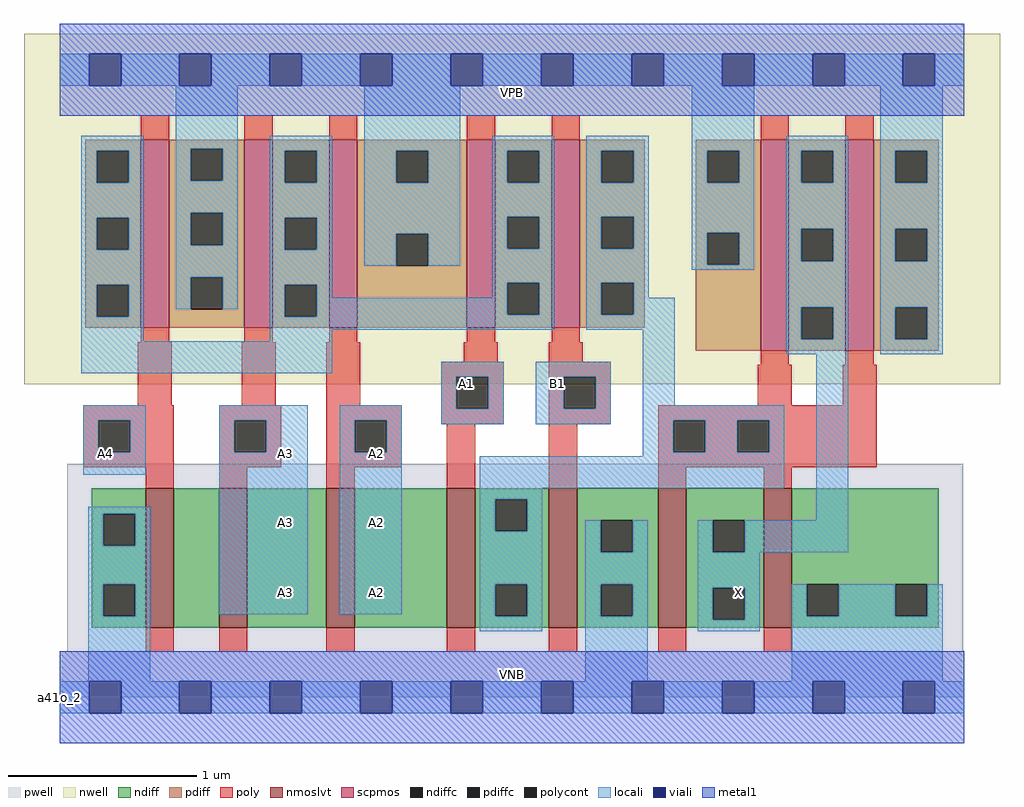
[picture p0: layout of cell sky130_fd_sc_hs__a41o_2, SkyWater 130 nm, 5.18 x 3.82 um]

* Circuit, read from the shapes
.subckt sky130_fd_sc_hs__a41o_2 A1 A2 A3 A4 B1 VGND VNB VPB VPWR X
XM1 n1 A4 VGND VNB sky130_fd_pr__nfet_01v8_lvt w=0.74 l=0.15
XM2 n2 A3 n1 VNB sky130_fd_pr__nfet_01v8_lvt w=0.74 l=0.15
XM3 n3 A2 n2 VNB sky130_fd_pr__nfet_01v8_lvt w=0.74 l=0.15
XM4 n4 A1 n3 VNB sky130_fd_pr__nfet_01v8_lvt w=0.74 l=0.15
XM5 VGND B1 n4 VNB sky130_fd_pr__nfet_01v8_lvt w=0.74 l=0.15
XM6 X n4 VGND VNB sky130_fd_pr__nfet_01v8_lvt w=0.74 l=0.15 m=2
XM7 VPWR A4 n5 VPB sky130_fd_pr__pfet_01v8 w=1 l=0.15
XM8 n5 A3 VPWR VPB sky130_fd_pr__pfet_01v8 w=1 l=0.15
XM9 VPWR A2 n5 VPB sky130_fd_pr__pfet_01v8 w=1 l=0.15
XM10 n5 A1 VPWR VPB sky130_fd_pr__pfet_01v8 w=1 l=0.15
XM11 n4 B1 n5 VPB sky130_fd_pr__pfet_01v8 w=1 l=0.15
XM12 X n4 VPWR VPB sky130_fd_pr__pfet_01v8 w=1.12 l=0.15 m=2
.ends

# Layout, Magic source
magic
tech sky130A
magscale 1 2
<< nwell >>
rect -38 332 998 704
<< pwell >>
rect 8 49 959 248
rect 0 0 960 49
<< scpmos >>
rect 86 392 116 592
rect 196 392 226 592
rect 286 392 316 592
rect 432 392 462 592
rect 522 392 552 592
rect 744 368 774 592
rect 834 368 864 592
<< nmoslvt >>
rect 91 74 121 222
rect 169 74 199 222
rect 283 74 313 222
rect 411 74 441 222
rect 519 74 549 222
rect 635 74 665 222
rect 747 74 777 222
<< ndiff >>
rect 34 195 91 222
rect 34 161 46 195
rect 80 161 91 195
rect 34 120 91 161
rect 34 86 46 120
rect 80 86 91 120
rect 34 74 91 86
rect 121 74 169 222
rect 199 74 283 222
rect 313 74 411 222
rect 441 210 519 222
rect 441 176 462 210
rect 496 176 519 210
rect 441 120 519 176
rect 441 86 462 120
rect 496 86 519 120
rect 441 74 519 86
rect 549 188 635 222
rect 549 154 574 188
rect 608 154 635 188
rect 549 120 635 154
rect 549 86 574 120
rect 608 86 635 120
rect 549 74 635 86
rect 665 188 747 222
rect 665 154 693 188
rect 727 154 747 188
rect 665 116 747 154
rect 665 82 693 116
rect 727 82 747 116
rect 665 74 747 82
rect 777 120 933 222
rect 777 86 793 120
rect 827 86 887 120
rect 921 86 933 120
rect 777 74 933 86
<< pdiff >>
rect 27 580 86 592
rect 27 546 39 580
rect 73 546 86 580
rect 27 509 86 546
rect 27 475 39 509
rect 73 475 86 509
rect 27 438 86 475
rect 27 404 39 438
rect 73 404 86 438
rect 27 392 86 404
rect 116 582 196 592
rect 116 548 139 582
rect 173 548 196 582
rect 116 514 196 548
rect 116 480 139 514
rect 173 480 196 514
rect 116 446 196 480
rect 116 412 139 446
rect 173 412 196 446
rect 116 392 196 412
rect 226 580 286 592
rect 226 546 239 580
rect 273 546 286 580
rect 226 509 286 546
rect 226 475 239 509
rect 273 475 286 509
rect 226 438 286 475
rect 226 404 239 438
rect 273 404 286 438
rect 226 392 286 404
rect 316 580 432 592
rect 316 546 357 580
rect 391 546 432 580
rect 316 492 432 546
rect 316 458 357 492
rect 391 458 432 492
rect 316 392 432 458
rect 462 580 522 592
rect 462 546 475 580
rect 509 546 522 580
rect 462 510 522 546
rect 462 476 475 510
rect 509 476 522 510
rect 462 440 522 476
rect 462 406 475 440
rect 509 406 522 440
rect 462 392 522 406
rect 552 580 621 592
rect 552 546 575 580
rect 609 546 621 580
rect 552 510 621 546
rect 552 476 575 510
rect 609 476 621 510
rect 552 440 621 476
rect 552 406 575 440
rect 609 406 621 440
rect 552 392 621 406
rect 675 580 744 592
rect 675 546 687 580
rect 721 546 744 580
rect 675 493 744 546
rect 675 459 687 493
rect 721 459 744 493
rect 675 368 744 459
rect 774 580 834 592
rect 774 546 787 580
rect 821 546 834 580
rect 774 497 834 546
rect 774 463 787 497
rect 821 463 834 497
rect 774 414 834 463
rect 774 380 787 414
rect 821 380 834 414
rect 774 368 834 380
rect 864 580 933 592
rect 864 546 887 580
rect 921 546 933 580
rect 864 497 933 546
rect 864 463 887 497
rect 921 463 933 497
rect 864 414 933 463
rect 864 380 887 414
rect 921 380 933 414
rect 864 368 933 380
<< ndiffc >>
rect 46 161 80 195
rect 46 86 80 120
rect 462 176 496 210
rect 462 86 496 120
rect 574 154 608 188
rect 574 86 608 120
rect 693 154 727 188
rect 693 82 727 116
rect 793 86 827 120
rect 887 86 921 120
<< pdiffc >>
rect 39 546 73 580
rect 39 475 73 509
rect 39 404 73 438
rect 139 548 173 582
rect 139 480 173 514
rect 139 412 173 446
rect 239 546 273 580
rect 239 475 273 509
rect 239 404 273 438
rect 357 546 391 580
rect 357 458 391 492
rect 475 546 509 580
rect 475 476 509 510
rect 475 406 509 440
rect 575 546 609 580
rect 575 476 609 510
rect 575 406 609 440
rect 687 546 721 580
rect 687 459 721 493
rect 787 546 821 580
rect 787 463 821 497
rect 787 380 821 414
rect 887 546 921 580
rect 887 463 921 497
rect 887 380 921 414
<< poly >>
rect 86 592 116 618
rect 196 592 226 618
rect 286 592 316 618
rect 432 592 462 618
rect 522 592 552 618
rect 744 592 774 618
rect 834 592 864 618
rect 86 377 116 392
rect 196 377 226 392
rect 286 377 316 392
rect 432 377 462 392
rect 522 377 552 392
rect 83 310 119 377
rect 193 310 229 377
rect 283 310 319 377
rect 429 356 465 377
rect 519 356 555 377
rect 405 340 471 356
rect 25 294 121 310
rect 25 260 41 294
rect 75 260 121 294
rect 25 244 121 260
rect 91 222 121 244
rect 169 294 235 310
rect 169 260 185 294
rect 219 260 235 294
rect 169 244 235 260
rect 283 294 363 310
rect 283 260 313 294
rect 347 260 363 294
rect 405 306 421 340
rect 455 306 471 340
rect 405 290 471 306
rect 519 340 585 356
rect 744 353 774 368
rect 834 353 864 368
rect 519 306 535 340
rect 569 306 585 340
rect 741 310 777 353
rect 831 310 867 353
rect 519 290 585 306
rect 635 294 867 310
rect 283 244 363 260
rect 169 222 199 244
rect 283 222 313 244
rect 411 222 441 290
rect 519 222 549 290
rect 635 260 651 294
rect 685 260 719 294
rect 753 260 867 294
rect 635 244 867 260
rect 635 222 665 244
rect 747 222 777 244
rect 91 48 121 74
rect 169 48 199 74
rect 283 48 313 74
rect 411 48 441 74
rect 519 48 549 74
rect 635 48 665 74
rect 747 48 777 74
<< polycont >>
rect 41 260 75 294
rect 185 260 219 294
rect 313 260 347 294
rect 421 306 455 340
rect 535 306 569 340
rect 651 260 685 294
rect 719 260 753 294
<< locali >>
rect 0 649 31 683
rect 65 649 127 683
rect 161 649 223 683
rect 257 649 319 683
rect 353 649 415 683
rect 449 649 511 683
rect 545 649 607 683
rect 641 649 703 683
rect 737 649 799 683
rect 833 649 895 683
rect 929 649 960 683
rect 23 580 89 596
rect 23 546 39 580
rect 73 546 89 580
rect 23 509 89 546
rect 23 475 39 509
rect 73 475 89 509
rect 23 438 89 475
rect 23 404 39 438
rect 73 404 89 438
rect 123 582 189 649
rect 123 548 139 582
rect 173 548 189 582
rect 123 514 189 548
rect 123 480 139 514
rect 173 480 189 514
rect 123 446 189 480
rect 123 412 139 446
rect 173 412 189 446
rect 223 580 289 596
rect 223 546 239 580
rect 273 546 289 580
rect 223 509 289 546
rect 223 475 239 509
rect 273 475 289 509
rect 223 438 289 475
rect 323 580 425 649
rect 323 546 357 580
rect 391 546 425 580
rect 323 492 425 546
rect 323 458 357 492
rect 391 458 425 492
rect 459 580 525 596
rect 459 546 475 580
rect 509 546 525 580
rect 459 510 525 546
rect 459 476 475 510
rect 509 476 525 510
rect 23 378 89 404
rect 223 404 239 438
rect 273 424 289 438
rect 459 440 525 476
rect 459 424 475 440
rect 273 406 475 424
rect 509 406 525 440
rect 273 404 525 406
rect 223 390 525 404
rect 559 580 625 596
rect 559 546 575 580
rect 609 546 625 580
rect 559 510 625 546
rect 559 476 575 510
rect 609 476 625 510
rect 559 440 625 476
rect 671 580 737 649
rect 671 546 687 580
rect 721 546 737 580
rect 671 493 737 546
rect 671 459 687 493
rect 721 459 737 493
rect 671 454 737 459
rect 771 580 837 596
rect 771 546 787 580
rect 821 546 837 580
rect 771 497 837 546
rect 771 463 787 497
rect 821 463 837 497
rect 559 406 575 440
rect 609 424 625 440
rect 609 406 653 424
rect 559 390 653 406
rect 223 378 289 390
rect 23 344 289 378
rect 405 340 471 356
rect 25 294 91 310
rect 25 260 41 294
rect 75 260 91 294
rect 25 236 91 260
rect 169 294 263 310
rect 169 260 185 294
rect 219 260 263 294
rect 30 195 96 202
rect 30 161 46 195
rect 80 161 96 195
rect 30 120 96 161
rect 30 86 46 120
rect 80 86 96 120
rect 169 88 263 260
rect 297 294 363 310
rect 297 260 313 294
rect 347 260 363 294
rect 405 306 421 340
rect 455 306 471 340
rect 405 290 471 306
rect 505 340 585 356
rect 505 306 535 340
rect 569 306 585 340
rect 505 290 585 306
rect 619 310 653 390
rect 771 414 837 463
rect 771 380 787 414
rect 821 380 837 414
rect 771 364 837 380
rect 871 580 937 649
rect 871 546 887 580
rect 921 546 937 580
rect 871 497 937 546
rect 871 463 887 497
rect 921 463 937 497
rect 871 414 937 463
rect 871 380 887 414
rect 921 380 937 414
rect 871 364 937 380
rect 619 294 769 310
rect 297 88 363 260
rect 619 260 651 294
rect 685 260 719 294
rect 753 260 769 294
rect 619 256 769 260
rect 446 222 769 256
rect 446 210 512 222
rect 446 176 462 210
rect 496 176 512 210
rect 803 188 837 364
rect 446 120 512 176
rect 30 17 96 86
rect 446 86 462 120
rect 496 86 512 120
rect 446 70 512 86
rect 558 154 574 188
rect 608 154 624 188
rect 558 120 624 154
rect 558 86 574 120
rect 608 86 624 120
rect 558 17 624 86
rect 677 154 693 188
rect 727 154 837 188
rect 677 116 743 154
rect 677 82 693 116
rect 727 82 743 116
rect 677 70 743 82
rect 777 86 793 120
rect 827 86 887 120
rect 921 86 937 120
rect 777 17 937 86
rect 0 -17 31 17
rect 65 -17 127 17
rect 161 -17 223 17
rect 257 -17 319 17
rect 353 -17 415 17
rect 449 -17 511 17
rect 545 -17 607 17
rect 641 -17 703 17
rect 737 -17 799 17
rect 833 -17 895 17
rect 929 -17 960 17
<< viali >>
rect 31 649 65 683
rect 127 649 161 683
rect 223 649 257 683
rect 319 649 353 683
rect 415 649 449 683
rect 511 649 545 683
rect 607 649 641 683
rect 703 649 737 683
rect 799 649 833 683
rect 895 649 929 683
rect 31 -17 65 17
rect 127 -17 161 17
rect 223 -17 257 17
rect 319 -17 353 17
rect 415 -17 449 17
rect 511 -17 545 17
rect 607 -17 641 17
rect 703 -17 737 17
rect 799 -17 833 17
rect 895 -17 929 17
<< metal1 >>
rect 0 683 960 715
rect 0 649 31 683
rect 65 649 127 683
rect 161 649 223 683
rect 257 649 319 683
rect 353 649 415 683
rect 449 649 511 683
rect 545 649 607 683
rect 641 649 703 683
rect 737 649 799 683
rect 833 649 895 683
rect 929 649 960 683
rect 0 617 960 649
rect 0 17 960 49
rect 0 -17 31 17
rect 65 -17 127 17
rect 161 -17 223 17
rect 257 -17 319 17
rect 353 -17 415 17
rect 449 -17 511 17
rect 545 -17 607 17
rect 641 -17 703 17
rect 737 -17 799 17
rect 833 -17 895 17
rect 929 -17 960 17
rect 0 -49 960 -17
<< labels >>
rlabel comment s 0 0 0 0 4 a41o_2
flabel pwell s 0 0 960 49 0 FreeSans 200 0 0 0 VNB
port 7 nsew ground bidirectional
flabel nwell s 0 617 960 666 0 FreeSans 200 0 0 0 VPB
port 8 nsew power bidirectional
flabel metal1 s 0 617 960 666 0 FreeSans 340 0 0 0 VPWR
port 9 nsew power bidirectional
flabel metal1 s 0 0 960 49 0 FreeSans 340 0 0 0 VGND
port 6 nsew ground bidirectional
flabel locali s 415 316 449 350 0 FreeSans 340 0 0 0 A1
port 1 nsew signal input
flabel locali s 319 94 353 128 0 FreeSans 340 0 0 0 A2
port 2 nsew signal input
flabel locali s 319 168 353 202 0 FreeSans 340 0 0 0 A2
port 2 nsew signal input
flabel locali s 319 242 353 276 0 FreeSans 340 0 0 0 A2
port 2 nsew signal input
flabel locali s 223 94 257 128 0 FreeSans 340 0 0 0 A3
port 3 nsew signal input
flabel locali s 223 168 257 202 0 FreeSans 340 0 0 0 A3
port 3 nsew signal input
flabel locali s 223 242 257 276 0 FreeSans 340 0 0 0 A3
port 3 nsew signal input
flabel locali s 31 242 65 276 0 FreeSans 340 0 0 0 A4
port 4 nsew signal input
flabel locali s 511 316 545 350 0 FreeSans 340 0 0 0 B1
port 5 nsew signal input
flabel locali s 703 94 737 128 0 FreeSans 340 0 0 0 X
port 10 nsew signal output
<< properties >>
string LEFsite unit
string LEFclass CORE
string FIXED_BBOX 0 0 960 666
string GDS_FILE $PDKPATH/libs.ref/sky130_fd_sc_hs/gds/sky130_fd_sc_hs.gds
string LEFsymmetry X Y
string GDS_END 3654228
string GDS_START 3645484
<< end >>
